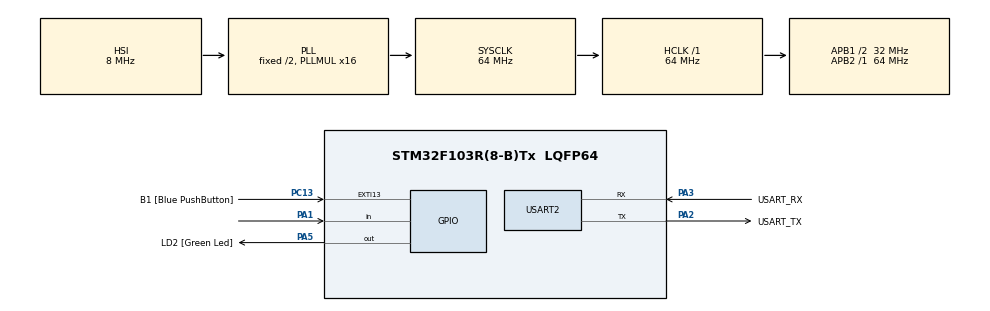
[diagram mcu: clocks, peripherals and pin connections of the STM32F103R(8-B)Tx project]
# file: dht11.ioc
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Mcu.Family=STM32F1
Mcu.Name=STM32F103R(8-B)Tx
Mcu.Package=LQFP64
NVIC.EXTI15_10_IRQn=true\:0\:0\:false\:false\:true\:true\:true
NVIC.PriorityGroup=NVIC_PRIORITYGROUP_4
PA1.Signal=GPIO_Input
PA13.GPIO_Label=TMS
PA13.Mode=Serial_Wire
PA13.Signal=SYS_JTMS-SWDIO
PA14.GPIO_Label=TCK
PA14.Mode=Serial_Wire
PA14.Signal=SYS_JTCK-SWCLK
PA2.GPIO_Label=USART_TX
PA2.GPIO_Mode=GPIO_MODE_AF_PP
PA2.GPIO_PuPd=GPIO_NOPULL
PA2.GPIO_Speed=GPIO_SPEED_FREQ_LOW
PA2.Mode=Asynchronous
PA2.Signal=USART2_TX
PA3.GPIO_Label=USART_RX
PA3.GPIO_Mode=GPIO_MODE_AF_PP
PA3.GPIO_PuPd=GPIO_NOPULL
PA3.GPIO_Speed=GPIO_SPEED_FREQ_LOW
PA3.Mode=Asynchronous
PA3.Signal=USART2_RX
PA5.GPIO_Label=LD2 [Green Led]
PA5.GPIO_ModeDefaultOutputPP=GPIO_MODE_OUTPUT_PP
PA5.GPIO_PuPd=GPIO_NOPULL
PA5.GPIO_Speed=GPIO_SPEED_FREQ_LOW
PA5.Signal=GPIO_Output
PB3.GPIO_Label=SWO
PB3.Signal=SYS_JTDO-TRACESWO
PC13-TAMPER-RTC.GPIO_Label=B1 [Blue PushButton]
PC13-TAMPER-RTC.GPIO_PuPd=GPIO_NOPULL
PC13-TAMPER-RTC.Signal=GPXTI13
PC14-OSC32_IN.Mode=LSE-External-Oscillator
PC14-OSC32_IN.Signal=RCC_OSC32_IN
PC15-OSC32_OUT.Mode=LSE-External-Oscillator
PC15-OSC32_OUT.Signal=RCC_OSC32_OUT
PD0-OSC_IN.Mode=HSE-External-Clock-Source
PD0-OSC_IN.Signal=RCC_OSC_IN
PD1-OSC_OUT.Mode=HSE-External-Clock-Source
PD1-OSC_OUT.Signal=RCC_OSC_OUT
ProjectManager.HeapSize=0x200
ProjectManager.StackSize=0x400
ProjectManager.TargetToolchain=MDK-ARM V5
RCC.AHBFreq_Value=64000000
RCC.APB1CLKDivider=RCC_HCLK_DIV2
RCC.APB1Freq_Value=32000000
RCC.APB1TimFreq_Value=64000000
RCC.APB2Freq_Value=64000000
RCC.APB2TimFreq_Value=64000000
RCC.HCLKFreq_Value=64000000
RCC.PLLMUL=RCC_PLL_MUL16
RCC.RTCClockSelection=RCC_RTCCLKSOURCE_LSE
RCC.SYSCLKFreq_VALUE=64000000
RCC.SYSCLKSource=RCC_SYSCLKSOURCE_PLLCLK
RCC.USBFreq_Value=64000000
USART2.VirtualMode=VM_ASYNC
board=NUCLEO-F103RB

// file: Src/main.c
/* USER CODE BEGIN Header */
/**
  ******************************************************************************
  * @file           : main.c
  * @brief          : Main program body
  ******************************************************************************
  * @attention
  *
  * <h2><center>&copy; Copyright (c) 2019 STMicroelectronics.
  * All rights reserved.</center></h2>
  *
  * This software component is licensed by ST under BSD 3-Clause license,
  * the "License"; You may not use this file except in compliance with the
  * License. You may obtain a copy of the License at:
  *                        opensource.org/licenses/BSD-3-Clause
  *
  ******************************************************************************
  */
/* USER CODE END Header */

#include "main.h"

/* USER CODE BEGIN Includes */
#include "stdio.h"
#include "dwt_stm32_delay.h"

/* USER CODE END Includes */

/* USER CODE BEGIN PD */

uint32_t millis_cnt=0;

uint32_t millis(){
    return millis_cnt;
}

uint32_t micros(){
    uint32_t val = SysTick->VAL;
    uint32_t load = SysTick->LOAD;
    return (millis_cnt&0x3FFFFF)*1000 + (load-val)/((load+1)/1000);
}

void delay_us(uint32_t us){
    uint32_t temp = micros() + us;
    while(temp > micros());
}
/* USER CODE END PD */

/* USER CODE BEGIN PM */
#define DHT11_port    GPIOA
#define DHT11_pin     1
#define DHT11_pinmode CRL  //  if(pin < 8) CRL , else CRH
#define DHT11_read    IDR
#pragma anon_unions
union {
  uint32_t data;
  struct {
    uint8_t temp_d;
    uint8_t temp_i;
    uint8_t rh_d;
    uint8_t rh_i;
  };
} DHT;

uint8_t DHT_read () {
  uint8_t i, check_sum;
  uint32_t start;
  check_sum = 0;
  DHT.data = 0;

  GPIOA->CRL = (DHT11_port->DHT11_pinmode&(~(15<<((DHT11_pin%8)*4))))|(7<<((DHT11_pin%8)*4));  // Output Open-drain (Master send LOW signal)
  HAL_Delay(18);
  GPIOA->CRL = (DHT11_port->DHT11_pinmode&(~(15<<((DHT11_pin%8)*4))))|(4<<((DHT11_pin%8)*4));  // Floating input (Master send HIGH signal & data receive)

  start = micros();
  while (DHT11_port->DHT11_read&(1<<DHT11_pin)) {  // HAL_GPIO_ReadPin(GPIOA, GPIO_PIN_9);
    if (micros()-start > 50) return 1;  // 20~40us
  }
  start = micros();
  while (!(DHT11_port->DHT11_read&(1<<DHT11_pin))) {
    if (micros()-start > 120) return 2;  // 80us
  }
  start = micros();
  while (DHT11_port->DHT11_read&(1<<DHT11_pin)) {
    if (micros()-start > 120) return 3;  // 80us
  }

  for (i = 0; i < 32; i++) {
    while (!(DHT11_port->DHT11_read&(1<<DHT11_pin))); // 50us
    start = micros();
    while (DHT11_port->DHT11_read&(1<<DHT11_pin));
    if (micros()-start > 50) DHT.data |= (0x80000000 >> i); // "0"=26~28us, "1"=70us
  }
  for (i = 0; i < 8; i++) {
    while (!(DHT11_port->DHT11_read&(1<<DHT11_pin))); // 50us
    start = micros();
    while (DHT11_port->DHT11_read&(1<<DHT11_pin));
    if (micros()-start > 50) check_sum |= (0x80 >> i);
  }

  if ((DHT.rh_i + DHT.rh_d + DHT.temp_i + DHT.temp_d) == check_sum) return 0;
  else return 4;
}

/* USER CODE END PM */

UART_HandleTypeDef huart2;

/* USER CODE BEGIN PV */
UART_HandleTypeDef huart2;
/* USER CODE END PV */

void SystemClock_Config(void);
static void MX_GPIO_Init(void);
static void MX_USART2_UART_Init(void);

/* USER CODE BEGIN 0 */
uint8_t Rh_byte1, Rh_byte2, Temp_byte1, Temp_byte2,Temp_value, Rh_value;
uint16_t sum, RH, TEMP;
uint8_t check = 0;

GPIO_InitTypeDef GPIO_InitStruct;

void set_gpio_output (void)
{
	/*Configure GPIO pin output: PA2 */
  GPIO_InitStruct.Pin = GPIO_PIN_1;
  GPIO_InitStruct.Mode = GPIO_MODE_OUTPUT_PP;
  GPIO_InitStruct.Speed = GPIO_SPEED_FREQ_LOW;
  HAL_GPIO_Init(GPIOA, &GPIO_InitStruct);
}

void set_gpio_input (void)
{
	/*Configure GPIO pin input: PA2 */
  GPIO_InitStruct.Pin = GPIO_PIN_1;
  GPIO_InitStruct.Mode = GPIO_MODE_INPUT;
  GPIO_InitStruct.Pull = GPIO_NOPULL;
  HAL_GPIO_Init(GPIOA, &GPIO_InitStruct);
}

void DHT11_start (void)
{
	set_gpio_output ();  // set the pin as output
	HAL_GPIO_WritePin (GPIOA, GPIO_PIN_1, 0);   // pull the pin low
	delay_us (18000);
HAL_GPIO_WritePin (GPIOA, GPIO_PIN_1, 1);	// wait for 18ms
	set_gpio_input ();   // set as input
}

void check_response (void)
{
	delay_us (40);
	if (!(HAL_GPIO_ReadPin (GPIOA, GPIO_PIN_1)))  // if the pin is low
	{
		delay_us (80);  // wait for 80us
		if ((HAL_GPIO_ReadPin (GPIOA, GPIO_PIN_1))) check = 1;  // now if the pin is high response = ok i.e. check =1
	}
	while ((HAL_GPIO_ReadPin (GPIOA, GPIO_PIN_1)));   // wait for the pin to go low
}

uint8_t read_data (void)
{
	uint8_t i,j;
	for (j=0;j<8;j++)
	{
		while (!(HAL_GPIO_ReadPin (GPIOA, GPIO_PIN_1)));   // wait for the pin to go high
		delay_us (40);   // wait for 40 us
		if ((HAL_GPIO_ReadPin (GPIOA, GPIO_PIN_1)) == 0)   // if the pin is low
		{
			i&= ~(1<<(7-j));   // write 0
		}
		else i|= (1<<(7-j));  // if the pin is high, write 1
		while ((HAL_GPIO_ReadPin (GPIOA, GPIO_PIN_1)));  // wait for the pin to go low
	}
	return i;
}

void DHT11_getdata()
{
	DHT11_start();
		check_response ();
		Rh_byte1 = read_data ();
		Rh_byte2 = read_data ();
		Temp_byte1 = read_data ();
		Temp_byte2 = read_data ();
		sum = read_data();
		if (sum == (Rh_byte1+Rh_byte2+Temp_byte1+Temp_byte2))    // if the data is correct
		{
		Temp_value = ((Temp_byte1/10)+48)+((Temp_byte1%10)+48);

		Rh_value = ((Rh_byte1/10)+48)+((Rh_byte1%10)+48);
		}
}

int fputc(int ch,FILE *f)
{
	HAL_UART_Transmit(&huart2, (uint8_t*)&ch, 1 , 0xFFFF);
	return ch;
}
/* USER CODE END 0 */

int main(void)
{

  /* MCU Configuration--------------------------------------------------------*/

  /* Reset of all peripherals, Initializes the Flash interface and the Systick. */
  HAL_Init();

  /* Configure the system clock */
  SystemClock_Config();

  /* Initialize all configured peripherals */
  MX_GPIO_Init();
  MX_USART2_UART_Init();
	DWT_Delay_Init ();
  /* USER CODE BEGIN 2 */
HAL_Delay (1000);
char str[20];
  /* USER CODE END 2 */

  /* Infinite loop */
  while (1)
  {

    /* USER CODE BEGIN 3 */
		Rh_byte1=0;
		Rh_byte2=0;
		Temp_byte1=0;
		Temp_byte2=0;

		DHT11_start ();
		check_response ();
		Rh_byte1 = read_data ();
		Rh_byte2 = read_data ();
		Temp_byte1 = read_data ();
		Temp_byte2 = read_data ();
		sum = read_data();
		if (sum == (Rh_byte1+Rh_byte2+Temp_byte1+Temp_byte2))    // if the data is correct
		{
			printf("%d %d \n", Rh_byte1, Temp_byte1);

		HAL_Delay (5000);
		}
		//set_gpio_output ();
		HAL_GPIO_WritePin(GPIOA,GPIO_PIN_5,GPIO_PIN_SET);
		HAL_Delay(300);
		HAL_GPIO_WritePin(GPIOA,GPIO_PIN_5,GPIO_PIN_RESET);
		HAL_Delay(300);
		/*
		 uint8_t error_no = DHT_read();
		 printf("%d %d \n", DHT.temp_i, DHT.rh_i);
		HAL_Delay(1000);
		*/

  }
  /* USER CODE END 3 */
}

void SystemClock_Config(void)
{
  RCC_OscInitTypeDef RCC_OscInitStruct = {0};
  RCC_ClkInitTypeDef RCC_ClkInitStruct = {0};

  /** Initializes the CPU, AHB and APB busses clocks
  */
  RCC_OscInitStruct.OscillatorType = RCC_OSCILLATORTYPE_HSI;
  RCC_OscInitStruct.HSIState = RCC_HSI_ON;
  RCC_OscInitStruct.HSICalibrationValue = RCC_HSICALIBRATION_DEFAULT;
  RCC_OscInitStruct.PLL.PLLState = RCC_PLL_ON;
  RCC_OscInitStruct.PLL.PLLSource = RCC_PLLSOURCE_HSI_DIV2;
  RCC_OscInitStruct.PLL.PLLMUL = RCC_PLL_MUL16;
  if (HAL_RCC_OscConfig(&RCC_OscInitStruct) != HAL_OK)
  {
    Error_Handler();
  }
  /** Initializes the CPU, AHB and APB busses clocks
  */
  RCC_ClkInitStruct.ClockType = RCC_CLOCKTYPE_HCLK|RCC_CLOCKTYPE_SYSCLK
                              |RCC_CLOCKTYPE_PCLK1|RCC_CLOCKTYPE_PCLK2;
  RCC_ClkInitStruct.SYSCLKSource = RCC_SYSCLKSOURCE_PLLCLK;
  RCC_ClkInitStruct.AHBCLKDivider = RCC_SYSCLK_DIV1;
  RCC_ClkInitStruct.APB1CLKDivider = RCC_HCLK_DIV2;
  RCC_ClkInitStruct.APB2CLKDivider = RCC_HCLK_DIV1;

  if (HAL_RCC_ClockConfig(&RCC_ClkInitStruct, FLASH_LATENCY_2) != HAL_OK)
  {
    Error_Handler();
  }
}

static void MX_USART2_UART_Init(void)
{

  huart2.Instance = USART2;
  huart2.Init.BaudRate = 115200;
  huart2.Init.WordLength = UART_WORDLENGTH_8B;
  huart2.Init.StopBits = UART_STOPBITS_1;
  huart2.Init.Parity = UART_PARITY_NONE;
  huart2.Init.Mode = UART_MODE_TX_RX;
  huart2.Init.HwFlowCtl = UART_HWCONTROL_NONE;
  huart2.Init.OverSampling = UART_OVERSAMPLING_16;
  if (HAL_UART_Init(&huart2) != HAL_OK)
  {
    Error_Handler();
  }

}

static void MX_GPIO_Init(void)
{
  GPIO_InitTypeDef GPIO_InitStruct = {0};

  /* GPIO Ports Clock Enable */
  __HAL_RCC_GPIOC_CLK_ENABLE();
  __HAL_RCC_GPIOD_CLK_ENABLE();
  __HAL_RCC_GPIOA_CLK_ENABLE();
  __HAL_RCC_GPIOB_CLK_ENABLE();

  /*Configure GPIO pin Output Level */
  HAL_GPIO_WritePin(LD2_GPIO_Port, LD2_Pin, GPIO_PIN_RESET);

  /*Configure GPIO pin : B1_Pin */
  GPIO_InitStruct.Pin = B1_Pin;
  GPIO_InitStruct.Mode = GPIO_MODE_IT_RISING;
  GPIO_InitStruct.Pull = GPIO_NOPULL;
  HAL_GPIO_Init(B1_GPIO_Port, &GPIO_InitStruct);

  /*Configure GPIO pin : PA1 */

  GPIO_InitStruct.Pin = GPIO_PIN_1;
  GPIO_InitStruct.Mode = GPIO_MODE_INPUT;
  GPIO_InitStruct.Pull = GPIO_NOPULL;
  HAL_GPIO_Init(GPIOA, &GPIO_InitStruct);

  /*Configure GPIO pin : LD2_Pin */
  GPIO_InitStruct.Pin = LD2_Pin;
  GPIO_InitStruct.Mode = GPIO_MODE_OUTPUT_PP;
  GPIO_InitStruct.Pull = GPIO_NOPULL;
  GPIO_InitStruct.Speed = GPIO_SPEED_FREQ_LOW;
  HAL_GPIO_Init(LD2_GPIO_Port, &GPIO_InitStruct);

  /* EXTI interrupt init*/
  HAL_NVIC_SetPriority(EXTI15_10_IRQn, 0, 0);
  HAL_NVIC_EnableIRQ(EXTI15_10_IRQn);

}

void Error_Handler(void)
{
}

/************************ (C) COPYRIGHT STMicroelectronics *****END OF FILE****/
